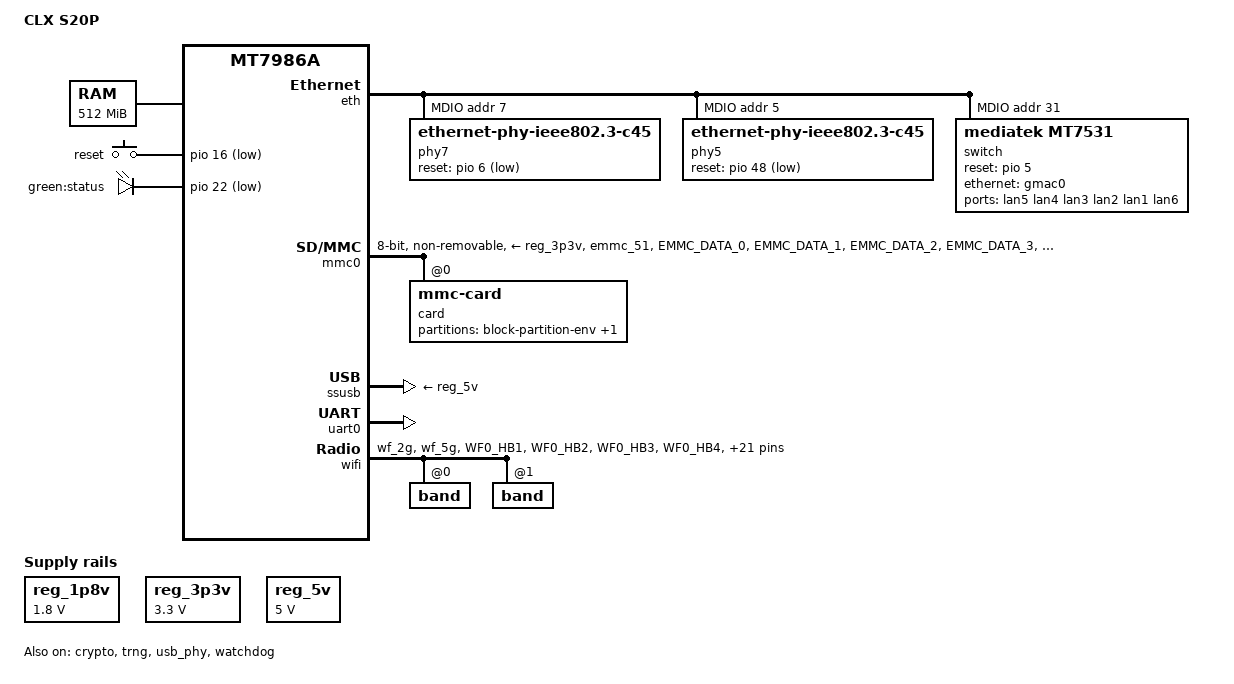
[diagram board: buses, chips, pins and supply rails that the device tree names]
// SPDX-License-Identifier: GPL-2.0-or-later OR MIT

/dts-v1/;
#include <dt-bindings/gpio/gpio.h>
#include <dt-bindings/input/input.h>
#include <dt-bindings/leds/common.h>
#include <dt-bindings/pinctrl/mt65xx.h>

#include "mt7986a.dtsi"

/ {
	model = "CLX S20P";
	compatible = "clx,s20p", "mediatek,mt7986a";

	aliases {
		serial0 = &uart0;
		label-mac-device = &gmac0;
		led-boot = &led_status;
		led-failsafe = &led_status;
		led-running = &led_status;
		led-upgrade = &led_status;
	};

	chosen {
		stdout-path = "serial0:115200n8";
		bootargs-append = "root=PARTLABEL=rootfs rootwait";
	};

	memory@40000000 {
		device_type = "memory";
		reg = <0 0x40000000 0 0x20000000>;
	};

	reg_1p8v: regulator-1p8v {
		compatible = "regulator-fixed";
		regulator-name = "fixed-1.8V";
		regulator-min-microvolt = <1800000>;
		regulator-max-microvolt = <1800000>;
		regulator-boot-on;
		regulator-always-on;
	};

	reg_3p3v: regulator-3p3v {
		compatible = "regulator-fixed";
		regulator-name = "fixed-3.3V";
		regulator-min-microvolt = <3300000>;
		regulator-max-microvolt = <3300000>;
		regulator-boot-on;
		regulator-always-on;
	};

	reg_5v: regulator-5v {
		compatible = "regulator-fixed";
		regulator-name = "fixed-5V";
		regulator-min-microvolt = <5000000>;
		regulator-max-microvolt = <5000000>;
		regulator-boot-on;
		regulator-always-on;
	};

	keys {
		compatible = "gpio-keys";

		reset {
			label = "reset";
			linux,code = <KEY_RESTART>;
			gpios = <&pio 16 GPIO_ACTIVE_LOW>;
		};
	};

	leds {
		compatible = "gpio-leds";

		led_status: led-0 {
			label = "green:status";
			gpios = <&pio 22 GPIO_ACTIVE_LOW>;
			default-state = "on";
		};
	};
};

&eth {
	status = "okay";

	gmac0: mac@0 {
		compatible = "mediatek,eth-mac";
		reg = <0>;
		phy-mode = "2500base-x";
		nvmem-cells = <&macaddr_factory_2a 0>;
		nvmem-cell-names = "mac-address";

		fixed-link {
			speed = <2500>;
			full-duplex;
			pause;
		};
	};

	gmac1: mac@1 {
		compatible = "mediatek,eth-mac";
		reg = <1>;
		phy-mode = "2500base-x";
		phy-handle = <&phy7>;
		nvmem-cells = <&macaddr_factory_24 0>;
		nvmem-cell-names = "mac-address";
	};

	mdio: mdio-bus {
		#address-cells = <1>;
		#size-cells = <0>;

		/* 2.5G WAN PHY, connected directly to GMAC1 */
		phy7: ethernet-phy@7 {
			compatible = "ethernet-phy-ieee802.3-c45";
			reg = <7>;
			reset-assert-us = <100000>;
			reset-deassert-us = <100000>;
			reset-gpios = <&pio 6 GPIO_ACTIVE_LOW>;
			realtek,aldps-enable;
			/* LED0..2: 10M/100M/1000M/2500M link select */
			realtek,led-link-select = <0x27 0x27 0x27>;
		};

		/* 2.5G LAN PHY, connected to MT7531 port 5 */
		phy5: ethernet-phy@5 {
			compatible = "ethernet-phy-ieee802.3-c45";
			reg = <5>;
			reset-assert-us = <100000>;
			reset-deassert-us = <100000>;
			reset-gpios = <&pio 48 GPIO_ACTIVE_LOW>;
			realtek,aldps-enable;
			/* LED0..2: 10M/100M/1000M/2500M link select */
			realtek,led-link-select = <0x27 0x27 0x27>;
		};

		switch: switch@1f {
			compatible = "mediatek,mt7531";
			reg = <31>;
			reset-gpios = <&pio 5 GPIO_ACTIVE_HIGH>;

			ports {
				#address-cells = <1>;
				#size-cells = <0>;

				port@0 {
					reg = <0>;
					label = "lan5";
				};

				port@1 {
					reg = <1>;
					label = "lan4";
				};

				port@2 {
					reg = <2>;
					label = "lan3";
				};

				port@3 {
					reg = <3>;
					label = "lan2";
				};

				port@4 {
					reg = <4>;
					label = "lan1";
				};

				port@5 {
					reg = <5>;
					label = "lan6";
					phy-mode = "2500base-x";
					phy-handle = <&phy5>;
				};

				port@6 {
					reg = <6>;
					ethernet = <&gmac0>;
					phy-mode = "2500base-x";

					fixed-link {
						speed = <2500>;
						full-duplex;
						pause;
					};
				};
			};
		};
	};
};

&pio {
	wf_2g_5g_pins: wf_2g_5g-pins {
		mux {
			function = "wifi";
			groups = "wf_2g", "wf_5g";
		};
		conf {
			pins = "WF0_HB1", "WF0_HB2", "WF0_HB3", "WF0_HB4",
			       "WF0_HB0", "WF0_HB0_B", "WF0_HB5", "WF0_HB6",
			       "WF0_HB7", "WF0_HB8", "WF0_HB9", "WF0_HB10",
			       "WF0_TOP_CLK", "WF0_TOP_DATA", "WF1_HB1",
			       "WF1_HB2", "WF1_HB3", "WF1_HB4", "WF1_HB0",
			       "WF1_HB5", "WF1_HB6", "WF1_HB7", "WF1_HB8",
			       "WF1_TOP_CLK", "WF1_TOP_DATA";
			drive-strength = <4>;
		};
	};

	mmc0_pins_default: mmc0-pins {
		mux {
			function = "emmc";
			groups = "emmc_51";
		};
		conf-cmd-dat {
			pins = "EMMC_DATA_0", "EMMC_DATA_1", "EMMC_DATA_2",
			       "EMMC_DATA_3", "EMMC_DATA_4", "EMMC_DATA_5",
			       "EMMC_DATA_6", "EMMC_DATA_7", "EMMC_CMD";
			input-enable;
			drive-strength = <4>;
			mediatek,pull-up-adv = <1>;	/* pull-up 10K */
		};
		conf-clk {
			pins = "EMMC_CK";
			drive-strength = <6>;
			mediatek,pull-down-adv = <2>;	/* pull-down 50K */
		};
		conf-ds {
			pins = "EMMC_DSL";
			mediatek,pull-down-adv = <2>;	/* pull-down 50K */
		};
		conf-rst {
			pins = "EMMC_RSTB";
			drive-strength = <4>;
			mediatek,pull-up-adv = <1>;	/* pull-up 10K */
		};
	};

	mmc0_pins_uhs: mmc0-uhs-pins {
		mux {
			function = "emmc";
			groups = "emmc_51";
		};
		conf-cmd-dat {
			pins = "EMMC_DATA_0", "EMMC_DATA_1", "EMMC_DATA_2",
			       "EMMC_DATA_3", "EMMC_DATA_4", "EMMC_DATA_5",
			       "EMMC_DATA_6", "EMMC_DATA_7", "EMMC_CMD";
			input-enable;
			drive-strength = <4>;
			mediatek,pull-up-adv = <1>;	/* pull-up 10K */
		};
		conf-clk {
			pins = "EMMC_CK";
			drive-strength = <6>;
			mediatek,pull-down-adv = <2>;	/* pull-down 50K */
		};
		conf-ds {
			pins = "EMMC_DSL";
			mediatek,pull-down-adv = <2>;	/* pull-down 50K */
		};
		conf-rst {
			pins = "EMMC_RSTB";
			drive-strength = <4>;
			mediatek,pull-up-adv = <1>;	/* pull-up 10K */
		};
	};
};

&crypto {
	status = "okay";
};

&mmc0 {
	pinctrl-names = "default", "state_uhs";
	pinctrl-0 = <&mmc0_pins_default>;
	pinctrl-1 = <&mmc0_pins_uhs>;
	bus-width = <8>;
	max-frequency = <200000000>;
	cap-mmc-highspeed;
	mmc-hs200-1_8v;
	mmc-hs400-1_8v;
	hs400-ds-delay = <0x14014>;
	vmmc-supply = <&reg_3p3v>;
	vqmmc-supply = <&reg_1p8v>;
	non-removable;
	no-sd;
	no-sdio;
	status = "okay";

	card@0 {
		compatible = "mmc-card";
		reg = <0>;

		block {
			compatible = "block-device";
			partitions {
				block-partition-env {
					partname = "u-boot-env";

					nvmem-layout {
						compatible = "u-boot,env";
					};
				};

				block-partition-factory {
					partname = "factory";

					nvmem-layout {
						compatible = "fixed-layout";
						#address-cells = <1>;
						#size-cells = <1>;

						eeprom_factory_0: eeprom@0 {
							reg = <0x0 0x1000>;
						};

						macaddr_factory_4: macaddr@4 {
							compatible = "mac-base";
							reg = <0x4 0x6>;
							#nvmem-cell-cells = <1>;
						};

						macaddr_factory_24: macaddr@24 {
							compatible = "mac-base";
							reg = <0x24 0x6>;
							#nvmem-cell-cells = <1>;
						};

						macaddr_factory_2a: macaddr@2a {
							compatible = "mac-base";
							reg = <0x2a 0x6>;
							#nvmem-cell-cells = <1>;
						};

						macaddr_factory_30: macaddr@30 {
							compatible = "mac-base";
							reg = <0x30 0x6>;
							#nvmem-cell-cells = <1>;
						};
					};
				};
			};
		};
	};
};

&ssusb {
	vusb33-supply = <&reg_3p3v>;
	vbus-supply = <&reg_5v>;
	status = "okay";
};

&trng {
	status = "okay";
};

&uart0 {
	status = "okay";
};

&usb_phy {
	status = "okay";
};

&watchdog {
	status = "okay";
};

&wifi {
	nvmem-cells = <&eeprom_factory_0>;
	nvmem-cell-names = "eeprom";
	pinctrl-names = "default";
	pinctrl-0 = <&wf_2g_5g_pins>;
	status = "okay";

	band@0 {
		/* 2.4 GHz */
		reg = <0>;
		nvmem-cells = <&macaddr_factory_4 0>;
		nvmem-cell-names = "mac-address";
	};

	band@1 {
		/* 5 GHz */
		reg = <1>;
		nvmem-cells = <&macaddr_factory_30 0>;
		nvmem-cell-names = "mac-address";
	};
};
